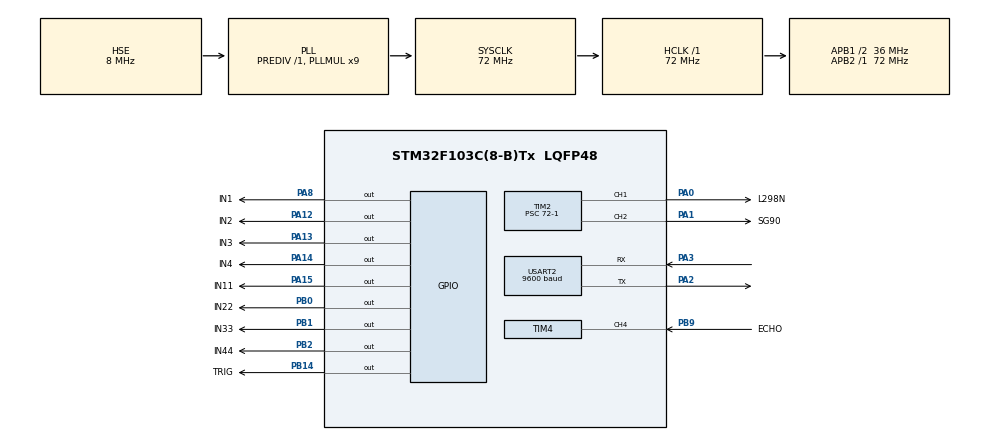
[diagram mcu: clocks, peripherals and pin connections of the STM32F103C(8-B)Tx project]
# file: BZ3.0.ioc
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Mcu.Family=STM32F1
Mcu.Name=STM32F103C(8-B)Tx
Mcu.Package=LQFP48
NVIC.PriorityGroup=NVIC_PRIORITYGROUP_4
NVIC.TIM3_IRQn=true\:1\:0\:true\:false\:true\:true\:true\:true
NVIC.TIM4_IRQn=true\:0\:0\:false\:false\:true\:true\:true\:true
PA0-WKUP.GPIO_Label=L298N
PA0-WKUP.GPIO_Speed=GPIO_SPEED_FREQ_HIGH
PA0-WKUP.Signal=S_TIM2_CH1_ETR
PA1.GPIO_Label=SG90
PA1.GPIO_Speed=GPIO_SPEED_FREQ_HIGH
PA1.Signal=S_TIM2_CH2
PA12.GPIO_Label=IN2
PA12.GPIO_PuPd=GPIO_PULLUP
PA12.GPIO_Speed=GPIO_SPEED_FREQ_HIGH
PA12.PinState=GPIO_PIN_SET
PA12.Signal=GPIO_Output
PA13.GPIO_Label=IN3
PA13.GPIO_PuPd=GPIO_PULLUP
PA13.GPIO_Speed=GPIO_SPEED_FREQ_HIGH
PA13.PinState=GPIO_PIN_SET
PA13.Signal=GPIO_Output
PA14.GPIO_Label=IN4
PA14.GPIO_PuPd=GPIO_PULLUP
PA14.GPIO_Speed=GPIO_SPEED_FREQ_HIGH
PA14.PinState=GPIO_PIN_SET
PA14.Signal=GPIO_Output
PA15.GPIO_Label=IN11
PA15.GPIO_PuPd=GPIO_PULLUP
PA15.GPIO_Speed=GPIO_SPEED_FREQ_HIGH
PA15.PinState=GPIO_PIN_SET
PA15.Signal=GPIO_Output
PA2.Mode=Asynchronous
PA2.Signal=USART2_TX
PA3.Mode=Asynchronous
PA3.Signal=USART2_RX
PA8.GPIO_Label=IN1
PA8.GPIO_PuPd=GPIO_PULLUP
PA8.GPIO_Speed=GPIO_SPEED_FREQ_HIGH
PA8.PinState=GPIO_PIN_SET
PA8.Signal=GPIO_Output
PB0.GPIO_Label=IN22
PB0.GPIO_PuPd=GPIO_PULLUP
PB0.GPIO_Speed=GPIO_SPEED_FREQ_HIGH
PB0.PinState=GPIO_PIN_SET
PB0.Signal=GPIO_Output
PB1.GPIO_Label=IN33
PB1.GPIO_PuPd=GPIO_PULLUP
PB1.GPIO_Speed=GPIO_SPEED_FREQ_HIGH
PB1.PinState=GPIO_PIN_SET
PB1.Signal=GPIO_Output
PB14.GPIO_Label=TRIG
PB14.GPIO_PuPd=GPIO_PULLDOWN
PB14.GPIO_Speed=GPIO_SPEED_FREQ_HIGH
PB14.PinState=GPIO_PIN_SET
PB14.Signal=GPIO_Output
PB2.GPIO_Label=IN44
PB2.GPIO_PuPd=GPIO_PULLUP
PB2.GPIO_Speed=GPIO_SPEED_FREQ_HIGH
PB2.PinState=GPIO_PIN_SET
PB2.Signal=GPIO_Output
PB9.GPIO_Label=ECHO
PB9.Signal=S_TIM4_CH4
PC14-OSC32_IN.Mode=LSE-External-Oscillator
PC14-OSC32_IN.Signal=RCC_OSC32_IN
PC15-OSC32_OUT.Mode=LSE-External-Oscillator
PC15-OSC32_OUT.Signal=RCC_OSC32_OUT
PD0-OSC_IN.Mode=HSE-External-Oscillator
PD0-OSC_IN.Signal=RCC_OSC_IN
PD1-OSC_OUT.Mode=HSE-External-Oscillator
PD1-OSC_OUT.Signal=RCC_OSC_OUT
ProjectManager.HeapSize=0x200
ProjectManager.StackSize=0x400
ProjectManager.TargetToolchain=MDK-ARM V5.32
RCC.AHBFreq_Value=72000000
RCC.APB1CLKDivider=RCC_HCLK_DIV2
RCC.APB1Freq_Value=36000000
RCC.APB1TimFreq_Value=72000000
RCC.APB2Freq_Value=72000000
RCC.APB2TimFreq_Value=72000000
RCC.HCLKFreq_Value=72000000
RCC.PLLMUL=RCC_PLL_MUL9
RCC.PLLSourceVirtual=RCC_PLLSOURCE_HSE
RCC.SYSCLKFreq_VALUE=72000000
RCC.SYSCLKSource=RCC_SYSCLKSOURCE_PLLCLK
RCC.USBFreq_Value=72000000
SH.S_TIM2_CH1_ETR.0=TIM2_CH1,PWM Generation1 CH1
SH.S_TIM2_CH2.0=TIM2_CH2,PWM Generation2 CH2
SH.S_TIM4_CH4.0=TIM4_CH4,Input_Capture4_from_TI4
TIM2.AutoReloadPreload=TIM_AUTORELOAD_PRELOAD_ENABLE
TIM2.Channel-PWM\ Generation1\ CH1=TIM_CHANNEL_1
TIM2.Channel-PWM\ Generation2\ CH2=TIM_CHANNEL_2
TIM2.Period=20000-1
TIM2.Prescaler=72-1
TIM3.Period=10000-1
TIM3.Prescaler=720-1
TIM4.Channel-Input_Capture4_from_TI4=TIM_CHANNEL_4
TIM4.Prescaler=72-1
USART2.BaudRate=9600
USART2.VirtualMode=VM_ASYNC
VP_SYS_VS_ND.Mode=No_Debug
VP_TIM2_VS_ClockSourceINT.Mode=Internal
VP_TIM3_VS_ClockSourceINT.Mode=Internal
VP_TIM4_VS_ClockSourceINT.Mode=Internal
board=custom

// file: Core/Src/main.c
/* USER CODE BEGIN Header */
/**
  ******************************************************************************
  * @file           : main.c
  * @brief          : Main program body
  ******************************************************************************
  * @attention
  *
  * Copyright (c) 2025 STMicroelectronics.
  * All rights reserved.
  *
  * This software is licensed under terms that can be found in the LICENSE file
  * in the root directory of this software component.
  * If no LICENSE file comes with this software, it is provided AS-IS.
  *
  ******************************************************************************
  */
/* USER CODE END Header */
#include "main.h"
#include "tim.h"
#include "usart.h"
#include "gpio.h"

/* USER CODE BEGIN Includes */
#include "usart.h"
#include "chaoshengbo.h"
#include "control.h"
#include "bluetooth.h"
/* USER CODE END Includes */

/* USER CODE BEGIN PV */
 uint32_t speed = 500 ; // 500/2000= 25%的占空比，即速度为全速的1/4
/* USER CODE END PV */

void SystemClock_Config(void);

int main(void)
{
  /* USER CODE BEGIN 1 */
extern  float distances;
uint32_t S=20;//设定距离标准值
uint32_t LS,RS=0;//测定的左右两边距离值
  /* USER CODE END 1 */

  /* MCU Configuration--------------------------------------------------------*/

  /* Reset of all peripherals, Initializes the Flash interface and the Systick. */
  HAL_Init();

  /* Configure the system clock */
  SystemClock_Config();

  /* Initialize all configured peripherals */
  MX_GPIO_Init();
  MX_TIM2_Init();
  MX_TIM3_Init();
  MX_TIM4_Init();
  MX_USART2_UART_Init();
  /* USER CODE BEGIN 2 */

HAL_TIM_Base_Start_IT(&htim3);//开启定时器3中断
HAL_TIM_PWM_Start(&htim2, TIM_CHANNEL_1); //直流电机PWM
HAL_TIM_PWM_Start(&htim2, TIM_CHANNEL_2); //SG90PWM
HAL_UART_Receive_IT(&huart2,(uint8_t *)&USART2_NewData,1); //开启启接收中断
SG90_Init();//SG90舵机初始化，也就是转90°，朝向小车前方
CAR_STOP();
HAL_Delay(500);

  /* USER CODE END 2 */

  /* Infinite loop */
  /* USER CODE BEGIN WHILE */
  while (1)
  {
		//蓝牙控制变速
		if(USART2_RX_STA&0x8000)              //判断中断接收标志位（蓝牙模块使用USART2）
      {
    	 if((USART2_RX_STA&0x7FFF) ==4 	//判断接收数量是不是为四个
    			&& USART2_RX_BUF[0]==0xA5 	//判断接收第一个数据是不是包头0xA5
    			&& USART2_RX_BUF[3]==(USART2_RX_BUF[1]+USART2_RX_BUF[2])%0x100)	//判断接收校验码是不是原数据之和的低八位

    	{
    		 switch(USART2_RX_BUF[2])      //接收并读取蓝牙发送过来的第三个数,改变车速
    		 {   //TIM2计数周期ARR的值在CubeMX中设置为20000
    		 case(0x00):__HAL_TIM_SET_COMPARE(&htim2, TIM_CHANNEL_1,0);break;    //0%的速度

				 case(0x14):__HAL_TIM_SET_COMPARE(&htim2, TIM_CHANNEL_1,4000) ;break;//20%的速度

				 case(0x28):__HAL_TIM_SET_COMPARE(&htim2, TIM_CHANNEL_1,8000) ;break;//40%的速度

				 case(0x3C):__HAL_TIM_SET_COMPARE(&htim2, TIM_CHANNEL_1,12000);break;//60%的速度

				 case(0x50):__HAL_TIM_SET_COMPARE(&htim2, TIM_CHANNEL_1,16000);break;//80%的速度

				 case(0x64):__HAL_TIM_SET_COMPARE(&htim2, TIM_CHANNEL_1,20000);break;//100%的速度

				 default:break;

    		 }

    		 switch(USART2_RX_BUF[1])      //接收并读取蓝牙发送过来的第二个数，改变车的行驶状态
    		 {
				 case(0x00):CAR_STOP();break;
				 case(0x01):CAR_GO();break;
				 case(0x02):CAR_LGO();break;
				 case(0x03):CAR_RGO();break;
				 case(0x04):CAR_BACK();break;

				 default:break;

    		 }
    	 }
         USART2_RX_STA=0;//标志位清0，准备下次接收
      }

				if(distances>S)
	{
	    CAR_GO();
	}
		else
		{
				CAR_STOP();
				SG90_Turn_L();
				HAL_Delay(1500);
				LS=distances;
				SG90_Turn_R();
				HAL_Delay(1500);
				RS=distances;
				SG90_Init();

				if(LS>RS&&LS>S)
				{
					CAR_LGO();
					HAL_Delay(500);
				}
				else if(RS>LS&&RS>S)
				{
					CAR_RGO();
					HAL_Delay(500);
				}
				else
				{
					CAR_BACK();
					HAL_Delay(500);
				}
		}

  }
    /* USER CODE END WHILE */

  }

void SystemClock_Config(void)
{
  RCC_OscInitTypeDef RCC_OscInitStruct = {0};
  RCC_ClkInitTypeDef RCC_ClkInitStruct = {0};

  /** Initializes the RCC Oscillators according to the specified parameters
  * in the RCC_OscInitTypeDef structure.
  */
  RCC_OscInitStruct.OscillatorType = RCC_OSCILLATORTYPE_HSE;
  RCC_OscInitStruct.HSEState = RCC_HSE_ON;
  RCC_OscInitStruct.HSEPredivValue = RCC_HSE_PREDIV_DIV1;
  RCC_OscInitStruct.HSIState = RCC_HSI_ON;
  RCC_OscInitStruct.PLL.PLLState = RCC_PLL_ON;
  RCC_OscInitStruct.PLL.PLLSource = RCC_PLLSOURCE_HSE;
  RCC_OscInitStruct.PLL.PLLMUL = RCC_PLL_MUL9;
  if (HAL_RCC_OscConfig(&RCC_OscInitStruct) != HAL_OK)
  {
    Error_Handler();
  }

  /** Initializes the CPU, AHB and APB buses clocks
  */
  RCC_ClkInitStruct.ClockType = RCC_CLOCKTYPE_HCLK|RCC_CLOCKTYPE_SYSCLK
                              |RCC_CLOCKTYPE_PCLK1|RCC_CLOCKTYPE_PCLK2;
  RCC_ClkInitStruct.SYSCLKSource = RCC_SYSCLKSOURCE_PLLCLK;
  RCC_ClkInitStruct.AHBCLKDivider = RCC_SYSCLK_DIV1;
  RCC_ClkInitStruct.APB1CLKDivider = RCC_HCLK_DIV2;
  RCC_ClkInitStruct.APB2CLKDivider = RCC_HCLK_DIV1;

  if (HAL_RCC_ClockConfig(&RCC_ClkInitStruct, FLASH_LATENCY_2) != HAL_OK)
  {
    Error_Handler();
  }
}

void Error_Handler(void)
{
  __disable_irq();
  while (1)
  {
  }
}
